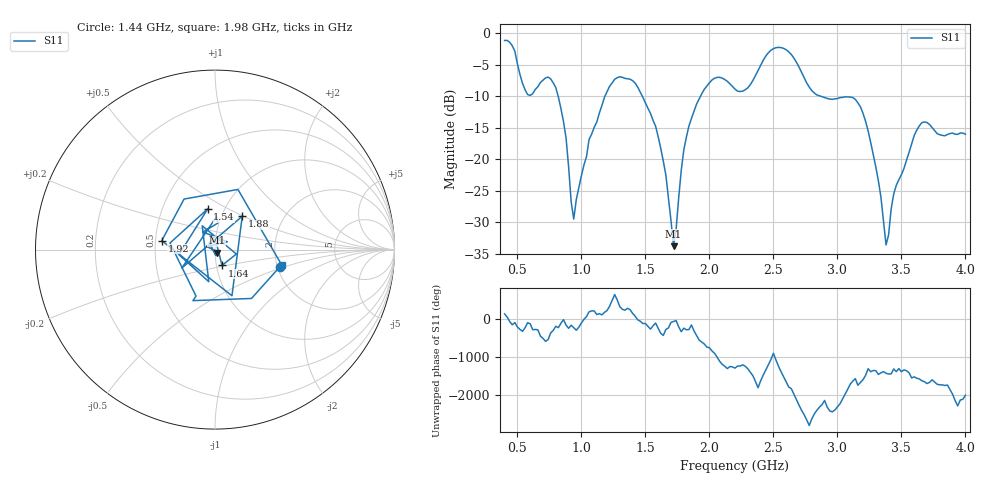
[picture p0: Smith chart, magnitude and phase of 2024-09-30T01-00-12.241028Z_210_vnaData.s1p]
!Created with skrf (http://scikit-rf.org).
# Hz S RI R 50.0
!freq ReS11 ImS11
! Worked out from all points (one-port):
!   181 points, 400 MHz to 4 GHz, reference 50 ohm
!   lowest |S11| = -33.8 dB at 1.72 GHz (marker M1), VSWR 1.04, Z = 51 - j1.8 ohm
!   |S11| at or under -10 dB: 818.4 MHz to 1.184 GHz (365.6 MHz wide, 36.5 % of centre); 1.476 GHz to 1.931 GHz (455.2 MHz wide, 26.7 % of centre); 2.869 GHz to end of sweep
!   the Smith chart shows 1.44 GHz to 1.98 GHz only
!   S11 on the Smith chart (normalised r, x): 1.44 GHz: 2.06, -0.46; 1.54 GHz: 0.83, +0.40; 1.64 GHz: 1.06, -0.19; 1.88 GHz: 1.25, +0.49; 1.92 GHz: 0.54, +0.06; 1.98 GHz: 2.12, -0.42
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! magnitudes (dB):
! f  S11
! 400 MHz  -1.2
! 580 MHz  -9.7
! 760 MHz  -7.3
! 860 MHz  -14.0
! 940 MHz  -29.5
! 1.06 GHz  -16.9
! 1.3 GHz  -6.9
! 1.44 GHz  -8.6
! 1.54 GHz  -12.7
! 1.64 GHz  -20.3
! 1.72 GHz  -33.8
! 1.76 GHz  -26.2
! 1.8 GHz  -18.5
! 1.88 GHz  -12.4
! 1.92 GHz  -10.4
! 1.98 GHz  -8.4
! 2.2 GHz  -8.9
! 2.5 GHz  -2.5
! 2.66 GHz  -4.0
! 2.84 GHz  -9.8
! 3.1 GHz  -10.1
! 3.24 GHz  -15.5
! 3.32 GHz  -23.4
! 3.38 GHz  -33.6
! 3.44 GHz  -25.5
! 3.56 GHz  -18.9
! 3.66 GHz  -14.2
! 4 GHz  -16.0
